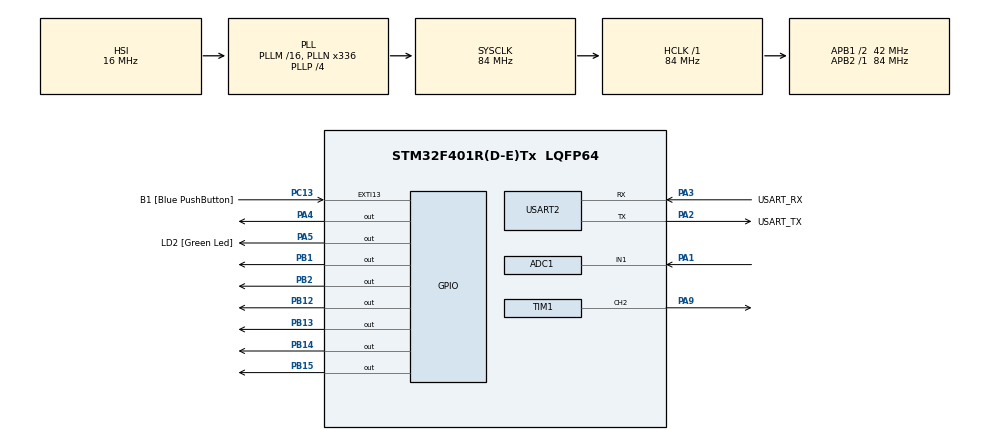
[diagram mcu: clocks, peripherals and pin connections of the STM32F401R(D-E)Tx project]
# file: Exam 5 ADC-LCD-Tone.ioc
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ADC1.Channel-0\#ChannelRegularConversion=ADC_CHANNEL_1
ADC1.ExternalTrigConv=ADC_EXTERNALTRIGCONV_T3_TRGO
ADC1.NbrOfConversion=1
ADC1.NbrOfConversionFlag=1
ADC1.Rank-0\#ChannelRegularConversion=1
ADC1.SamplingTime-0\#ChannelRegularConversion=ADC_SAMPLETIME_480CYCLES
ADC1.master=1
Mcu.Family=STM32F4
Mcu.Name=STM32F401R(D-E)Tx
Mcu.Package=LQFP64
NVIC.ADC_IRQn=true\:0\:0\:false\:false\:true\:true\:true\:true
NVIC.EXTI15_10_IRQn=true\:0\:0\:false\:false\:true\:true\:true\:true
NVIC.PriorityGroup=NVIC_PRIORITYGROUP_1
NVIC.USART2_IRQn=true\:0\:0\:false\:false\:true\:true\:true\:true
PA1.Signal=ADCx_IN1
PA13.GPIO_Label=TMS
PA13.Mode=Serial_Wire
PA13.Signal=SYS_JTMS-SWDIO
PA14.GPIO_Label=TCK
PA14.Mode=Serial_Wire
PA14.Signal=SYS_JTCK-SWCLK
PA2.GPIO_Label=USART_TX
PA2.GPIO_Mode=GPIO_MODE_AF_PP
PA2.GPIO_PuPd=GPIO_NOPULL
PA2.GPIO_Speed=GPIO_SPEED_FREQ_LOW
PA2.Mode=Asynchronous
PA2.Signal=USART2_TX
PA3.GPIO_Label=USART_RX
PA3.GPIO_Mode=GPIO_MODE_AF_PP
PA3.GPIO_PuPd=GPIO_NOPULL
PA3.GPIO_Speed=GPIO_SPEED_FREQ_LOW
PA3.Mode=Asynchronous
PA3.Signal=USART2_RX
PA4.Signal=GPIO_Output
PA5.GPIO_Label=LD2 [Green Led]
PA5.GPIO_Mode=GPIO_MODE_OUTPUT_PP
PA5.GPIO_PuPd=GPIO_NOPULL
PA5.GPIO_Speed=GPIO_SPEED_FREQ_LOW
PA5.Signal=GPIO_Output
PA9.Signal=S_TIM1_CH2
PB1.Signal=GPIO_Output
PB12.Signal=GPIO_Output
PB13.Signal=GPIO_Output
PB14.Signal=GPIO_Output
PB15.Signal=GPIO_Output
PB2.Signal=GPIO_Output
PB3.GPIO_Label=SWO
PB3.Signal=SYS_JTDO-SWO
PC13-ANTI_TAMP.GPIO_Label=B1 [Blue PushButton]
PC13-ANTI_TAMP.GPIO_ModeDefaultEXTI=GPIO_MODE_IT_FALLING
PC13-ANTI_TAMP.GPIO_PuPd=GPIO_NOPULL
PC13-ANTI_TAMP.Signal=GPXTI13
PC14-OSC32_IN.Mode=LSE-External-Oscillator
PC14-OSC32_IN.Signal=RCC_OSC32_IN
PC15-OSC32_OUT.Mode=LSE-External-Oscillator
PC15-OSC32_OUT.Signal=RCC_OSC32_OUT
PH0\ -\ OSC_IN.Mode=HSE-External-Clock-Source
PH0\ -\ OSC_IN.Signal=RCC_OSC_IN
PH1\ -\ OSC_OUT.Mode=HSE-External-Clock-Source
PH1\ -\ OSC_OUT.Signal=RCC_OSC_OUT
ProjectManager.HeapSize=0x200
ProjectManager.StackSize=0x400
ProjectManager.TargetToolchain=STM32CubeIDE
RCC.48MHZClocksFreq_Value=48000000
RCC.AHBFreq_Value=84000000
RCC.APB1CLKDivider=RCC_HCLK_DIV2
RCC.APB1Freq_Value=42000000
RCC.APB1TimFreq_Value=84000000
RCC.APB2Freq_Value=84000000
RCC.APB2TimFreq_Value=84000000
RCC.CortexFreq_Value=84000000
RCC.HCLKFreq_Value=84000000
RCC.HSE_VALUE=8000000
RCC.HSI_VALUE=16000000
RCC.PLLN=336
RCC.PLLP=RCC_PLLP_DIV4
RCC.PLLQ=7
RCC.SYSCLKFreq_VALUE=84000000
RCC.SYSCLKSource=RCC_SYSCLKSOURCE_PLLCLK
RCC.VCOOutputFreq_Value=336000000
SH.ADCx_IN1.0=ADC1_IN1,IN1
SH.S_TIM1_CH2.0=TIM1_CH2,PWM Generation2 CH2
TIM1.Channel-PWM\ Generation2\ CH2=TIM_CHANNEL_2
TIM1.Prescaler=84
TIM3.Period=2000-1
TIM3.Prescaler=8400-1
TIM3.TIM_MasterOutputTrigger=TIM_TRGO_UPDATE
TIM3.TIM_MasterSlaveMode=TIM_MASTERSLAVEMODE_DISABLE
USART2.VirtualMode=VM_ASYNC
VP_TIM1_VS_ClockSourceINT.Mode=Internal
VP_TIM3_VS_ClockSourceINT.Mode=Internal
board=NUCLEO-F401RE

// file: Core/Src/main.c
/* USER CODE BEGIN Header */
/**
  ******************************************************************************
  * @file           : main.c
  * @brief          : Main program body
  ******************************************************************************
  * @attention
  *
  * Copyright (c) 2023 STMicroelectronics.
  * All rights reserved.
  *
  * This software is licensed under terms that can be found in the LICENSE file
  * in the root directory of this software component.
  * If no LICENSE file comes with this software, it is provided AS-IS.
  *
  ******************************************************************************
  */
/* USER CODE END Header */
#include "main.h"

/* USER CODE BEGIN Includes */
#include <stdio.h>
#include <string.h>
#include <math.h>
#include "PMDB16_LCD.h"
/* USER CODE END Includes */

/* USER CODE BEGIN PD */
char aux_str[1024];
#define PRINT(s,...) \
		snprintf(aux_str, 1020, s, ##__VA_ARGS__ ); \
		HAL_UART_Transmit(&huart2, (uint8_t*)aux_str, strlen(aux_str), 100);

/* USER CODE END PD */

ADC_HandleTypeDef hadc1;

TIM_HandleTypeDef htim1;
TIM_HandleTypeDef htim3;

UART_HandleTypeDef huart2;

void SystemClock_Config(void);
static void MX_GPIO_Init(void);
static void MX_ADC1_Init(void);
static void MX_TIM3_Init(void);
static void MX_TIM1_Init(void);
static void MX_USART2_UART_Init(void);

/* USER CODE BEGIN 0 */
void set_pwm(float freq) {
	htim1.Init.Period = 1000000 / freq - 1;
	if (HAL_TIM_PWM_Init(&htim1) != HAL_OK)
		Error_Handler();

	TIM_OC_InitTypeDef sConfigOC = { 0 };

	sConfigOC.OCMode = TIM_OCMODE_PWM1;
	sConfigOC.Pulse = 1000000 / freq / 2 - 1;
	sConfigOC.OCPolarity = TIM_OCPOLARITY_HIGH;
	sConfigOC.OCNPolarity = TIM_OCNPOLARITY_HIGH;
	sConfigOC.OCFastMode = TIM_OCFAST_DISABLE;
	sConfigOC.OCIdleState = TIM_OCIDLESTATE_RESET;
	sConfigOC.OCNIdleState = TIM_OCNIDLESTATE_RESET;
	if (HAL_TIM_PWM_ConfigChannel(&htim1, &sConfigOC, TIM_CHANNEL_2) != HAL_OK)
		Error_Handler();
}

void HAL_ADC_ConvCpltCallback(ADC_HandleTypeDef *hadc){
	if(hadc == &hadc1){
		float aux = HAL_ADC_GetValue(&hadc1);
		char string[64];
		float voltage = aux*3.3/4096;
		snprintf(string, sizeof(string), "Voltage: %.3f", voltage);

		lcd_println(string, 0);
		lcd_drawBar(round(aux/4096*80));

		static float prev = 0;

		if(voltage < 0.5 && prev > 0.5){
			//set_pwm(440*voltage);
			set_pwm(440/2);
			HAL_TIM_PWM_Start(&htim1, TIM_CHANNEL_2);
		}else if(voltage > 2.8){
			//set_pwm(440*voltage);
			set_pwm(440*2);
			HAL_TIM_PWM_Start(&htim1, TIM_CHANNEL_2);
		}else{
			HAL_TIM_PWM_Stop(&htim1, TIM_CHANNEL_2);
		}

		PRINT("Voltage %.3f\n\r", voltage);
		prev = voltage;

	}

}

/* USER CODE END 0 */

int main(void)
{

  /* MCU Configuration--------------------------------------------------------*/

  /* Reset of all peripherals, Initializes the Flash interface and the Systick. */
  HAL_Init();

  /* Configure the system clock */
  SystemClock_Config();

  /* Initialize all configured peripherals */
  MX_GPIO_Init();
  MX_ADC1_Init();
  MX_TIM3_Init();
  MX_TIM1_Init();
  MX_USART2_UART_Init();
  /* USER CODE BEGIN 2 */
  lcd_initialize();
  lcd_backlight_ON();

  if(HAL_TIM_Base_Start(&htim3) != HAL_OK)
	  Error_Handler();
  if(HAL_ADC_Start_IT(&hadc1) != HAL_OK)
		  Error_Handler();
  /* USER CODE END 2 */

  /* Infinite loop */
  while (1)
  {

  }
}

void SystemClock_Config(void)
{
  RCC_OscInitTypeDef RCC_OscInitStruct = {0};
  RCC_ClkInitTypeDef RCC_ClkInitStruct = {0};

  /** Configure the main internal regulator output voltage
  */
  __HAL_RCC_PWR_CLK_ENABLE();
  __HAL_PWR_VOLTAGESCALING_CONFIG(PWR_REGULATOR_VOLTAGE_SCALE2);

  /** Initializes the RCC Oscillators according to the specified parameters
  * in the RCC_OscInitTypeDef structure.
  */
  RCC_OscInitStruct.OscillatorType = RCC_OSCILLATORTYPE_HSI;
  RCC_OscInitStruct.HSIState = RCC_HSI_ON;
  RCC_OscInitStruct.HSICalibrationValue = RCC_HSICALIBRATION_DEFAULT;
  RCC_OscInitStruct.PLL.PLLState = RCC_PLL_ON;
  RCC_OscInitStruct.PLL.PLLSource = RCC_PLLSOURCE_HSI;
  RCC_OscInitStruct.PLL.PLLM = 16;
  RCC_OscInitStruct.PLL.PLLN = 336;
  RCC_OscInitStruct.PLL.PLLP = RCC_PLLP_DIV4;
  RCC_OscInitStruct.PLL.PLLQ = 7;
  if (HAL_RCC_OscConfig(&RCC_OscInitStruct) != HAL_OK)
  {
    Error_Handler();
  }

  /** Initializes the CPU, AHB and APB buses clocks
  */
  RCC_ClkInitStruct.ClockType = RCC_CLOCKTYPE_HCLK|RCC_CLOCKTYPE_SYSCLK
                              |RCC_CLOCKTYPE_PCLK1|RCC_CLOCKTYPE_PCLK2;
  RCC_ClkInitStruct.SYSCLKSource = RCC_SYSCLKSOURCE_PLLCLK;
  RCC_ClkInitStruct.AHBCLKDivider = RCC_SYSCLK_DIV1;
  RCC_ClkInitStruct.APB1CLKDivider = RCC_HCLK_DIV2;
  RCC_ClkInitStruct.APB2CLKDivider = RCC_HCLK_DIV1;

  if (HAL_RCC_ClockConfig(&RCC_ClkInitStruct, FLASH_LATENCY_2) != HAL_OK)
  {
    Error_Handler();
  }
}

static void MX_ADC1_Init(void)
{

  ADC_ChannelConfTypeDef sConfig = {0};

  /** Configure the global features of the ADC (Clock, Resolution, Data Alignment and number of conversion)
  */
  hadc1.Instance = ADC1;
  hadc1.Init.ClockPrescaler = ADC_CLOCK_SYNC_PCLK_DIV4;
  hadc1.Init.Resolution = ADC_RESOLUTION_12B;
  hadc1.Init.ScanConvMode = DISABLE;
  hadc1.Init.ContinuousConvMode = DISABLE;
  hadc1.Init.DiscontinuousConvMode = DISABLE;
  hadc1.Init.ExternalTrigConvEdge = ADC_EXTERNALTRIGCONVEDGE_RISING;
  hadc1.Init.ExternalTrigConv = ADC_EXTERNALTRIGCONV_T3_TRGO;
  hadc1.Init.DataAlign = ADC_DATAALIGN_RIGHT;
  hadc1.Init.NbrOfConversion = 1;
  hadc1.Init.DMAContinuousRequests = DISABLE;
  hadc1.Init.EOCSelection = ADC_EOC_SINGLE_CONV;
  if (HAL_ADC_Init(&hadc1) != HAL_OK)
  {
    Error_Handler();
  }

  /** Configure for the selected ADC regular channel its corresponding rank in the sequencer and its sample time.
  */
  sConfig.Channel = ADC_CHANNEL_1;
  sConfig.Rank = 1;
  sConfig.SamplingTime = ADC_SAMPLETIME_480CYCLES;
  if (HAL_ADC_ConfigChannel(&hadc1, &sConfig) != HAL_OK)
  {
    Error_Handler();
  }

}

static void MX_TIM1_Init(void)
{

  TIM_ClockConfigTypeDef sClockSourceConfig = {0};
  TIM_MasterConfigTypeDef sMasterConfig = {0};
  TIM_OC_InitTypeDef sConfigOC = {0};
  TIM_BreakDeadTimeConfigTypeDef sBreakDeadTimeConfig = {0};

  htim1.Instance = TIM1;
  htim1.Init.Prescaler = 84;
  htim1.Init.CounterMode = TIM_COUNTERMODE_UP;
  htim1.Init.Period = 65535;
  htim1.Init.ClockDivision = TIM_CLOCKDIVISION_DIV1;
  htim1.Init.RepetitionCounter = 0;
  htim1.Init.AutoReloadPreload = TIM_AUTORELOAD_PRELOAD_DISABLE;
  if (HAL_TIM_Base_Init(&htim1) != HAL_OK)
  {
    Error_Handler();
  }
  sClockSourceConfig.ClockSource = TIM_CLOCKSOURCE_INTERNAL;
  if (HAL_TIM_ConfigClockSource(&htim1, &sClockSourceConfig) != HAL_OK)
  {
    Error_Handler();
  }
  if (HAL_TIM_PWM_Init(&htim1) != HAL_OK)
  {
    Error_Handler();
  }
  sMasterConfig.MasterOutputTrigger = TIM_TRGO_RESET;
  sMasterConfig.MasterSlaveMode = TIM_MASTERSLAVEMODE_DISABLE;
  if (HAL_TIMEx_MasterConfigSynchronization(&htim1, &sMasterConfig) != HAL_OK)
  {
    Error_Handler();
  }
  sConfigOC.OCMode = TIM_OCMODE_PWM1;
  sConfigOC.Pulse = 0;
  sConfigOC.OCPolarity = TIM_OCPOLARITY_HIGH;
  sConfigOC.OCNPolarity = TIM_OCNPOLARITY_HIGH;
  sConfigOC.OCFastMode = TIM_OCFAST_DISABLE;
  sConfigOC.OCIdleState = TIM_OCIDLESTATE_RESET;
  sConfigOC.OCNIdleState = TIM_OCNIDLESTATE_RESET;
  if (HAL_TIM_PWM_ConfigChannel(&htim1, &sConfigOC, TIM_CHANNEL_2) != HAL_OK)
  {
    Error_Handler();
  }
  sBreakDeadTimeConfig.OffStateRunMode = TIM_OSSR_DISABLE;
  sBreakDeadTimeConfig.OffStateIDLEMode = TIM_OSSI_DISABLE;
  sBreakDeadTimeConfig.LockLevel = TIM_LOCKLEVEL_OFF;
  sBreakDeadTimeConfig.DeadTime = 0;
  sBreakDeadTimeConfig.BreakState = TIM_BREAK_DISABLE;
  sBreakDeadTimeConfig.BreakPolarity = TIM_BREAKPOLARITY_HIGH;
  sBreakDeadTimeConfig.AutomaticOutput = TIM_AUTOMATICOUTPUT_DISABLE;
  if (HAL_TIMEx_ConfigBreakDeadTime(&htim1, &sBreakDeadTimeConfig) != HAL_OK)
  {
    Error_Handler();
  }
  HAL_TIM_MspPostInit(&htim1);

}

static void MX_TIM3_Init(void)
{

  TIM_ClockConfigTypeDef sClockSourceConfig = {0};
  TIM_MasterConfigTypeDef sMasterConfig = {0};

  htim3.Instance = TIM3;
  htim3.Init.Prescaler = 8400-1;
  htim3.Init.CounterMode = TIM_COUNTERMODE_UP;
  htim3.Init.Period = 2000-1;
  htim3.Init.ClockDivision = TIM_CLOCKDIVISION_DIV1;
  htim3.Init.AutoReloadPreload = TIM_AUTORELOAD_PRELOAD_DISABLE;
  if (HAL_TIM_Base_Init(&htim3) != HAL_OK)
  {
    Error_Handler();
  }
  sClockSourceConfig.ClockSource = TIM_CLOCKSOURCE_INTERNAL;
  if (HAL_TIM_ConfigClockSource(&htim3, &sClockSourceConfig) != HAL_OK)
  {
    Error_Handler();
  }
  sMasterConfig.MasterOutputTrigger = TIM_TRGO_UPDATE;
  sMasterConfig.MasterSlaveMode = TIM_MASTERSLAVEMODE_DISABLE;
  if (HAL_TIMEx_MasterConfigSynchronization(&htim3, &sMasterConfig) != HAL_OK)
  {
    Error_Handler();
  }

}

static void MX_USART2_UART_Init(void)
{

  huart2.Instance = USART2;
  huart2.Init.BaudRate = 115200;
  huart2.Init.WordLength = UART_WORDLENGTH_8B;
  huart2.Init.StopBits = UART_STOPBITS_1;
  huart2.Init.Parity = UART_PARITY_NONE;
  huart2.Init.Mode = UART_MODE_TX_RX;
  huart2.Init.HwFlowCtl = UART_HWCONTROL_NONE;
  huart2.Init.OverSampling = UART_OVERSAMPLING_16;
  if (HAL_UART_Init(&huart2) != HAL_OK)
  {
    Error_Handler();
  }

}

static void MX_GPIO_Init(void)
{
  GPIO_InitTypeDef GPIO_InitStruct = {0};

  /* GPIO Ports Clock Enable */
  __HAL_RCC_GPIOC_CLK_ENABLE();
  __HAL_RCC_GPIOH_CLK_ENABLE();
  __HAL_RCC_GPIOA_CLK_ENABLE();
  __HAL_RCC_GPIOB_CLK_ENABLE();

  /*Configure GPIO pin Output Level */
  HAL_GPIO_WritePin(GPIOA, GPIO_PIN_4|LD2_Pin, GPIO_PIN_RESET);

  /*Configure GPIO pin Output Level */
  HAL_GPIO_WritePin(GPIOB, GPIO_PIN_1|GPIO_PIN_2|GPIO_PIN_12|GPIO_PIN_13
                          |GPIO_PIN_14|GPIO_PIN_15, GPIO_PIN_RESET);

  /*Configure GPIO pin : B1_Pin */
  GPIO_InitStruct.Pin = B1_Pin;
  GPIO_InitStruct.Mode = GPIO_MODE_IT_FALLING;
  GPIO_InitStruct.Pull = GPIO_NOPULL;
  HAL_GPIO_Init(B1_GPIO_Port, &GPIO_InitStruct);

  /*Configure GPIO pins : PA4 LD2_Pin */
  GPIO_InitStruct.Pin = GPIO_PIN_4|LD2_Pin;
  GPIO_InitStruct.Mode = GPIO_MODE_OUTPUT_PP;
  GPIO_InitStruct.Pull = GPIO_NOPULL;
  GPIO_InitStruct.Speed = GPIO_SPEED_FREQ_LOW;
  HAL_GPIO_Init(GPIOA, &GPIO_InitStruct);

  /*Configure GPIO pins : PB1 PB2 PB12 PB13
                           PB14 PB15 */
  GPIO_InitStruct.Pin = GPIO_PIN_1|GPIO_PIN_2|GPIO_PIN_12|GPIO_PIN_13
                          |GPIO_PIN_14|GPIO_PIN_15;
  GPIO_InitStruct.Mode = GPIO_MODE_OUTPUT_PP;
  GPIO_InitStruct.Pull = GPIO_NOPULL;
  GPIO_InitStruct.Speed = GPIO_SPEED_FREQ_LOW;
  HAL_GPIO_Init(GPIOB, &GPIO_InitStruct);

  /* EXTI interrupt init*/
  HAL_NVIC_SetPriority(EXTI15_10_IRQn, 0, 0);
  HAL_NVIC_EnableIRQ(EXTI15_10_IRQn);

}

void Error_Handler(void)
{
  __disable_irq();
  while (1)
  {
  }
}
